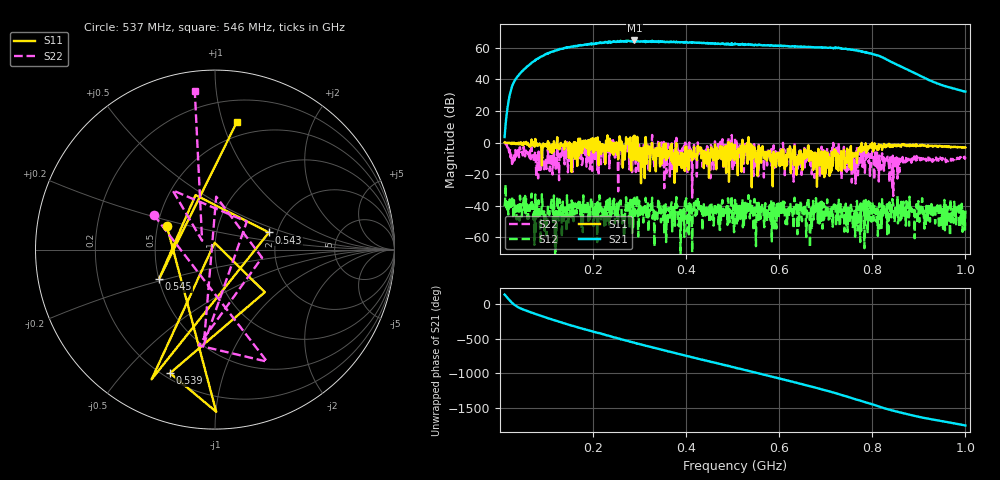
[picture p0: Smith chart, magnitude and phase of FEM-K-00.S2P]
!Agilent Technologies,E5071C,MY46106131,A.11.36
!Date: Tue May 13 20:59:50 2025
!Data & Calibration Information:
!Freq	S11:SOLT2(ON)	S21:SOLT2(ON)	S12:SOLT2(ON)	S22:SOLT2(ON)
!PortZ  Port1:50+j0  Port2:50+j0
!Above PortZ is port z conversion or system Z0 setting when saving the data.
!When reading, reference impedance value at option line is always used.
# Hz S dB R 50
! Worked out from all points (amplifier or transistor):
!   991 points, 10 MHz to 1 GHz, reference 50 ohm
!   highest |S21| = 64.5 dB at 289 MHz (marker M1)
!   |S21| within 3 dB of that: 176.9 MHz to 546 MHz (369.1 MHz wide, 102 % of centre)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
!   unconditionally stable (mu >= 1): 942.724 MHz to 944.5277 MHz; 947.7079 MHz to 949.5596 MHz; 995.7014 MHz to 999.8171 MHz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
!   at 175 MHz: K = 1.44, MSG = 57.8 dB, |S12| = -54.2 dB
!   at 505 MHz: K = 9.46, MSG = 49.4 dB, |S12| = -36.2 dB
!   at 1 GHz: K = 0.67, MSG = 37.6 dB, |S12| = -43.0 dB
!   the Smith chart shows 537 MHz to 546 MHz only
!   S11 on the Smith chart (normalised r, x): 537 MHz: 0.56, +0.16; 539 MHz: 0.23, -0.68; 543 MHz: 1.81, +0.38; 545 MHz: 0.50, -0.19; 546 MHz: 0.38, +1.11
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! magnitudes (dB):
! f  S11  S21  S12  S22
! 10 MHz  0.1  3.5  -40.3  -0.3
! 24 MHz  -0.4  33.5  -39.0  -7.0
! 44 MHz  0.0  43.9  -36.5  -4.7
! 98 MHz  -1.0  55.7  -48.9  -13.2
! 112 MHz  -6.7  57.5  -40.2  -14.2
! 118 MHz  -1.9  57.9  -59.3  -10.0
! 127 MHz  -4.0  58.9  -48.8  -23.8
! 175 MHz  -4.8  61.4  -54.2  -10.5
! 257 MHz  3.9  63.7  -37.0  1.4
! 266 MHz  -10.0  63.8  -57.1  -6.8
! 289 MHz  4.4  64.5  -34.9  2.7
! 340 MHz  -5.5  64.1  -36.8  0.4
! 387 MHz  -14.2  63.2  -42.6  -5.2
! 505 MHz  -1.6  62.6  -36.2  2.4
! 537 MHz  -10.5  61.9  -48.0  -8.1
! 539 MHz  -2.7  61.9  -40.0  -5.3
! 543 MHz  -10.0  61.6  -39.8  -12.5
! 545 MHz  -9.1  61.7  -55.7  -21.2
! 546 MHz  -2.9  61.5  -36.0  -1.0
! 670 MHz  -11.2  60.3  -55.2  -20.1
! 835 MHz  -2.3  51.8  -57.2  -12.6
! 1 GHz  -3.1  32.2  -43.0  -9.1
